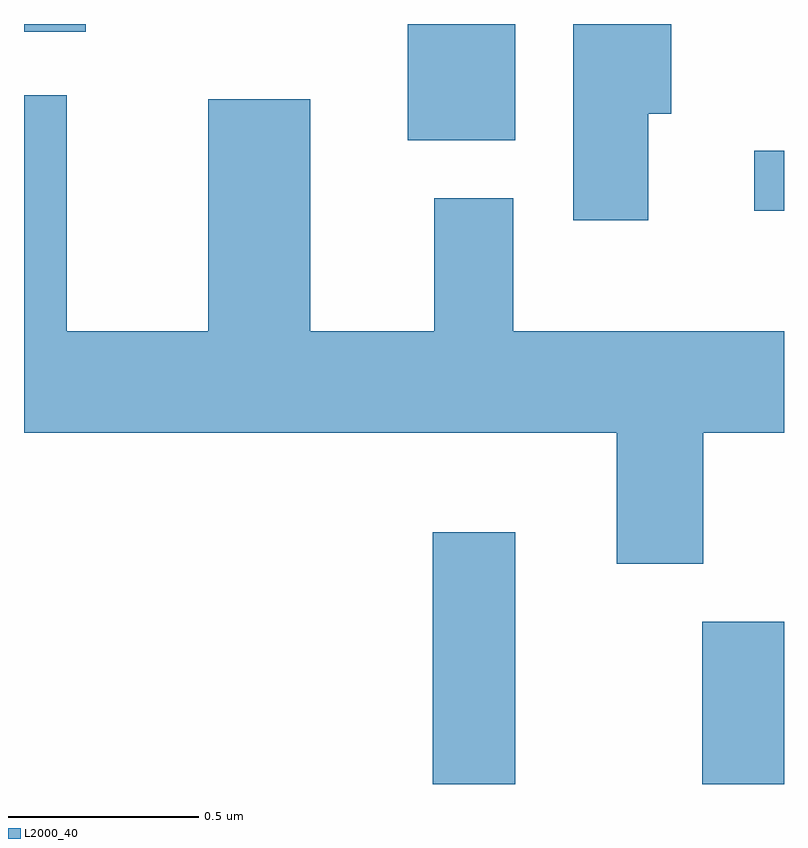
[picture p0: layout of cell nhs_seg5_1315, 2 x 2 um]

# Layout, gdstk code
import gdstk
lib = gdstk.Library(unit=1e-6, precision=1e-09)
def R(c, l, rs):  # rectangles x0, y0, x1, y1
    for r in rs: c.add(gdstk.rectangle(r[:2], r[2:], *l))
def P(c, l, *ps):  # polygons
    for p in ps: c.add(gdstk.Polygon(p, *l))
L2000_40 = (2000, 40)

nhs_seg5_1315 = lib.new_cell('nhs_seg5_1315')
R(nhs_seg5_1315, L2000_40, [(195.686,1478.072,195.904,1478.734), (196.396,1478.072,196.611,1478.499), (196.533,1479.581,196.611,1479.739), (195.621,1479.766,195.904,1480.072), (194.611,1480.051,194.774,1480.072)])
P(nhs_seg5_1315, L2000_40, [(196.254,1479.836),(196.314,1479.836),(196.314,1480.072),(196.056,1480.072),(196.056,1479.556),(196.254,1479.556)],
  [(196.399,1478.996),(196.611,1478.996),(196.611,1479.264),(195.899,1479.264),(195.899,1479.614),(195.691,1479.614),(195.691,1479.264),(195.364,1479.264),(195.364,1479.874),(195.096,1479.874),(195.096,1479.264),(194.724,1479.264),(194.724,1479.884),(194.611,1479.884),(194.611,1478.996),(196.171,1478.996),(196.171,1478.651),(196.399,1478.651)])

lib.write_gds('nhs_seg5_1315.gds')
